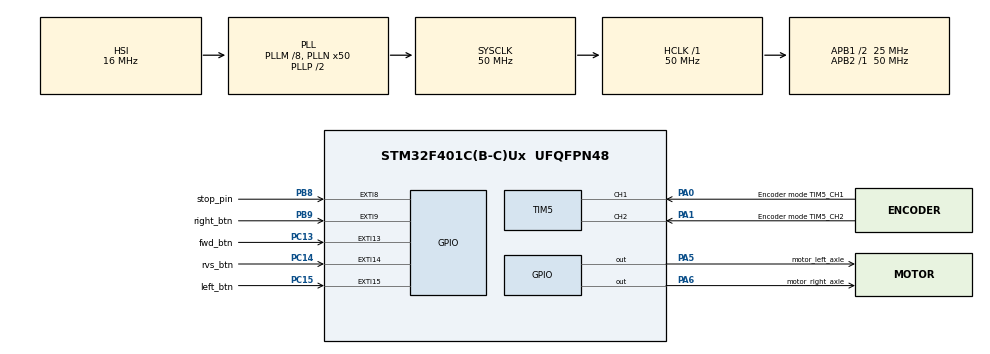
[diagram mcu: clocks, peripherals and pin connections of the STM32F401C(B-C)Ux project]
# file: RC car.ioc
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Mcu.Family=STM32F4
Mcu.Name=STM32F401C(B-C)Ux
Mcu.Package=UFQFPN48
NVIC.PriorityGroup=NVIC_PRIORITYGROUP_4
NVIC.TIM2_IRQn=true\:0\:0\:false\:false\:true\:true\:true\:true
NVIC.TIM3_IRQn=true\:0\:0\:false\:false\:true\:true\:true\:true
PA0-WKUP.GPIO_Label=Encoder mode TIM5_CH1
PA0-WKUP.GPIO_PuPd=GPIO_PULLUP
PA0-WKUP.Signal=S_TIM5_CH1
PA1.GPIO_Label=Encoder mode TIM5_CH2
PA1.GPIO_PuPd=GPIO_PULLUP
PA1.Signal=S_TIM5_CH2
PA13.Mode=Serial_Wire
PA13.Signal=SYS_JTMS-SWDIO
PA14.Mode=Serial_Wire
PA14.Signal=SYS_JTCK-SWCLK
PA5.GPIO_Label=motor_left_axle
PA5.Signal=GPIO_Output
PA6.GPIO_Label=motor_right_axle
PA6.Signal=GPIO_Output
PB8.GPIO_Label=stop_pin
PB8.Signal=GPXTI8
PB9.GPIO_Label=right_btn
PB9.Signal=GPXTI9
PC13-ANTI_TAMP.GPIO_Label=fwd_btn
PC13-ANTI_TAMP.Signal=GPXTI13
PC14-OSC32_IN.GPIO_Label=rvs_btn
PC14-OSC32_IN.Signal=GPXTI14
PC15-OSC32_OUT.GPIO_Label=left_btn
PC15-OSC32_OUT.Signal=GPXTI15
PH0\ -\ OSC_IN.Mode=HSE-External-Oscillator
PH0\ -\ OSC_IN.Signal=RCC_OSC_IN
PH1\ -\ OSC_OUT.Mode=HSE-External-Oscillator
PH1\ -\ OSC_OUT.Signal=RCC_OSC_OUT
ProjectManager.HeapSize=0x200
ProjectManager.StackSize=0x400
ProjectManager.TargetToolchain=STM32CubeIDE
RCC.48MHZClocksFreq_Value=25000000
RCC.AHBFreq_Value=50000000
RCC.APB1CLKDivider=RCC_HCLK_DIV2
RCC.APB1Freq_Value=25000000
RCC.APB1TimFreq_Value=50000000
RCC.APB2Freq_Value=50000000
RCC.APB2TimFreq_Value=50000000
RCC.CortexFreq_Value=50000000
RCC.HCLKFreq_Value=50000000
RCC.HSE_VALUE=25000000
RCC.HSI_VALUE=16000000
RCC.LSE_VALUE=32768
RCC.PLLM=8
RCC.PLLN=50
RCC.SYSCLKFreq_VALUE=50000000
RCC.SYSCLKSource=RCC_SYSCLKSOURCE_PLLCLK
RCC.VCOOutputFreq_Value=100000000
SH.S_TIM5_CH1.0=TIM5_CH1,Encoder_Interface
SH.S_TIM5_CH2.0=TIM5_CH2,Encoder_Interface
TIM2.Period=2500
TIM2.Prescaler=2000
TIM3.Period=2500
TIM3.Prescaler=2000
VP_TIM2_VS_ClockSourceINT.Mode=Internal
VP_TIM3_VS_ClockSourceINT.Mode=Internal
board=custom

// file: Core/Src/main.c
/* USER CODE BEGIN Header */
/**
  ******************************************************************************
  * @file           : main.c
  * @brief          : Main program body
  ******************************************************************************
  * @attention
  *
  * Copyright (c) 2022 STMicroelectronics.
  * All rights reserved.
  *
  * This software is licensed under terms that can be found in the LICENSE file
  * in the root directory of this software component.
  * If no LICENSE file comes with this software, it is provided AS-IS.
  *
  ******************************************************************************
  */
/* USER CODE END Header */
#include "main.h"

TIM_HandleTypeDef htim2;
TIM_HandleTypeDef htim3;
TIM_HandleTypeDef htim5;

void SystemClock_Config(void);
static void MX_GPIO_Init(void);
static void MX_TIM2_Init(void);
static void MX_TIM3_Init(void);
static void MX_TIM5_Init(void);

/* USER CODE BEGIN 0 */
void HAL_TIM_PWM_PulseFinishedCallback(TIM_HandleTypeDef GPIO_Pin){
	switch(GPIO_Pin){
	case stop_btn:
		direction=0;
		break;
	case Fwd_btn:
		direction=1;
		break;
	case rvs_btn:
		direction=2;
		break;
	case left_pin:
		direction=3;
		break;
	case right_pin:
		direction=4;
		break;
	case front_left_pin:
		direction=5;
		break;
	case rvs_left_pin:
		direction=6;
		break;
	case front_right_pin:
		direction=7;
		break;
	case rvs_right_pin:
		direction=8;
		break;
	case rotary_encoder :
		direction=9;
		break;
	default:
		direction =0;

	}
}

/* USER CODE END 0 */

int main(void)
{

  /* MCU Configuration--------------------------------------------------------*/

  /* Reset of all peripherals, Initializes the Flash interface and the Systick. */
  HAL_Init();

  /* Configure the system clock */
  SystemClock_Config();

  /* Initialize all configured peripherals */
  MX_GPIO_Init();
  MX_TIM2_Init();
  MX_TIM3_Init();
  MX_TIM5_Init();
  /* USER CODE BEGIN 2 */

  HAL_TIM_PWM_Start_IT(&htim2, TIM_CHANNEL_1);
  HAL_TIM_PWM_Start_IT(&htim3, TIM_CHANNEL_1);
  HAL_TIM_Encoder_Start(&htim2,ALL_CHANNELS);
  pinLast=HAL_GPIO_ReadPin(GPIOA, GPIO_PIN_10);

  /* USER CODE END 2 */

  /* Infinite loop */
  /* USER CODE BEGIN WHILE */
  while (1)
  {

	//motor1 is the left axle motor
	  //motor2 is the right axle motor

	  switch(direction){

  //stop condition
  case 0:
	  HAL_GPIO_WritePin(GPIOA, GPIO_PIN_5, GPIO_PIN_SET);//left motor
	  HAL_GPIO_WritePin(GPIOA, GPIO_PIN_6, GPIO_PIN_SET);//right motor

	 		  //motor1 speed 0
	            (TIM2->CCR1) =0;

	          //motor2 speed 0
	         	   (TIM3->CCR1)=0;

	         		   break;

  //forward motion
  case 1:
	  HAL_GPIO_WritePin(GPIOA, GPIO_PIN_5, GPIO_PIN_SET);
	  HAL_GPIO_WritePin(GPIOA, GPIO_PIN_6, GPIO_PIN_SET);

//maintain same speed for both the motors

	            (TIM2->CCR1) +=100;
	            if(TIM2->CCR1 >5000){
	         	   TIM2->CCR1 =500;
              }

	         	   (TIM3->CCR1) +=100;
	         	   if((TIM3->CCR1) >5000){
	         		   (TIM3->CCR1)=500;
               }
	  break;
	  //reverse
  case 2:
	  //run both motors in low configuration with same speed
	  HAL_GPIO_WritePin(GPIOA, GPIO_PIN_5, GPIO_PIN_RESET);
	  HAL_GPIO_WritePin(GPIOA, GPIO_PIN_6, GPIO_PIN_RESET);

	 		  //increase the speed of motor1 by 100 till it reaches 5000
	            (TIM2->CCR1) +=100;
	            if(TIM2->CCR1 >5000){
	         	   TIM2->CCR1 =500;
              }
	          //increase the speed of motor1 by 100 till it reaches 5000
	         	   (TIM3->CCR1) +=100;
	         	   if((TIM3->CCR1) >5000){
	         		   (TIM3->CCR1)=500;
               }
	         		   break;
	//left turn
  case 3:
	  HAL_GPIO_WritePin(GPIOA, GPIO_PIN_5, GPIO_PIN_SET);
	  HAL_GPIO_WritePin(GPIOA, GPIO_PIN_6, GPIO_PIN_SET);

	 		 //motor1 stops
	            (TIM2->CCR1) =0;
	          //increase the speed of motor2 by 100 till it reaches 5000
	         	   (TIM3->CCR1) +=100;
	         	   if((TIM3->CCR1) >5000){
	         		   (TIM3->CCR1)=500;
               }
	         		   break;

//right turn
    case 4:
	         		  HAL_GPIO_WritePin(GPIOA, GPIO_PIN_5, GPIO_PIN_SET);
	         		  HAL_GPIO_WritePin(GPIOA, GPIO_PIN_6, GPIO_PIN_SET);

	         		 		  //increase the speed of motor1 by 100 till it reaches 5000
	         		            (TIM2->CCR1) +=100;
	         		            if(TIM2->CCR1 >5000){
	         		         	   TIM2->CCR1 =500;
	         		          //motor 2 stops
	         		         	   (TIM3->CCR1)=0;
                          }
	         		         	   break;
    //front-left
    case 5:
       HAL_GPIO_WritePin(GPIOA, GPIO_PIN_5, GPIO_PIN_SET);
    	HAL_GPIO_WritePin(GPIOA, GPIO_PIN_6, GPIO_PIN_SET);

    			  //increase the speed of motor1 by 10 till it reaches 5000
    	           (TIM2->CCR1) +=10;
    	           if(TIM2->CCR1 >5000){
    	        	   TIM2->CCR1 =500;
                 }
    	         //increase the speed of motor2 by 100 till it reaches 5000
    	        	   (TIM3->CCR1) +=100;
    	        	   if((TIM3->CCR1) >5000){
    	        		   (TIM3->CCR1)=500;
                   }
    	        		   break;
   //revese-left
    case 6:
    	 HAL_GPIO_WritePin(GPIOA, GPIO_PIN_5, GPIO_PIN_RESET);
         HAL_GPIO_WritePin(GPIOA, GPIO_PIN_6, GPIO_PIN_RESET);

    			  //run motor1 at 25% speed

                         TIM2->CCR1=25;

    	         //motor 2 at 75% speed
    	        	   (TIM3->CCR1)=75;

    	        		   break;

    //forward-right
   case 7:
   	      HAL_GPIO_WritePin(GPIOA, GPIO_PIN_5, GPIO_PIN_SET);
   	      HAL_GPIO_WritePin(GPIOA, GPIO_PIN_6, GPIO_PIN_SET);

		  //run motor1 at 75% speed

                     TIM2->CCR1=75;

	         //motor 2 at 25% speed
	        	   (TIM3->CCR1)=25;
	        	   break;

	//rvs-right
   case 8:
	   HAL_GPIO_WritePin(GPIOA, GPIO_PIN_5, GPIO_PIN_RESET);
	   HAL_GPIO_WritePin(GPIOA, GPIO_PIN_6, GPIO_PIN_RESET);

	   		  //run motor1 at 25% speed

	              TIM2->CCR1=25;

	   	         //motor 2 at 75% speed
	          	   (TIM3->CCR1)=75;
	   	        	   break;

	 //rotary encoder that'll rotate the motor in clockwise direction when the rotor is rotated clockwise
   case 9:

	  pincurrent=HAL_GPIO_ReadPin(GPIOA, GPIO_PIN_10);
	  if(pincurrent != pinLast)//knob is rotating , find direction of rotation
	  {
		if(HAL_GPIO_ReadPin(GPIOA, GPIO_PIN_11_Pin)!= pincurrent)/*means pin at TIM5 CH1 is rotating first clockwise rotation*/
			{
			HAL_GPIO_WritePin(GPIOA, GPIO_PIN_5, GPIO_PIN_SET);
			 HAL_GPIO_WritePin(GPIOA, GPIO_PIN_6, GPIO_PIN_RESET);

				//motor will spin in clockwise direction

			                     TIM2->CCR1=100;
			                     if(TIM2->CCR1 >500){

			                    	 TIM2->CCR1 =100;
			                     }

				        	   (TIM3->CCR1)=100;
				        	   if((TIM3->CCR1) >500){

				        		   (TIM3->CCR1)=100;
				        	   }

				        	   else//rotating anti-clcokwise
				        	 HAL_GPIO_WritePin(GPIOA, GPIO_PIN_5, GPIO_PIN_RESET);
				        	   HAL_GPIO_WritePin(GPIOA, GPIO_PIN_6, GPIO_PIN_SET);

				        //motor will spin in anti-clockwise direction

				        		    TIM2->CCR1=100;
				        		    if(TIM2->CCR1 >500){

				        		    	TIM2->CCR1 =100;
				        		  			                     }

				        		   (TIM3->CCR1)=100;
				        		   if((TIM3->CCR1) >500){

				        			   (TIM3->CCR1)=100;
				        		   				        	   }

				        		   {
	  }
   default ://stop
	   HAL_GPIO_WritePin(GPIOA, GPIO_PIN_5, GPIO_PIN_SET);
  	   HAL_GPIO_WritePin(GPIOA, GPIO_PIN_6, GPIO_PIN_SET);
  	   TIM2 ->CCR1 =0 ;
  	   TIM3 ->CCR2 =0;
  	   break;

	   }
    }

    /* USER CODE END WHILE */

  }
}

void SystemClock_Config(void)
{
  RCC_OscInitTypeDef RCC_OscInitStruct = {0};
  RCC_ClkInitTypeDef RCC_ClkInitStruct = {0};

  /** Configure the main internal regulator output voltage
  */
  __HAL_RCC_PWR_CLK_ENABLE();
  __HAL_PWR_VOLTAGESCALING_CONFIG(PWR_REGULATOR_VOLTAGE_SCALE2);

  /** Initializes the RCC Oscillators according to the specified parameters
  * in the RCC_OscInitTypeDef structure.
  */
  RCC_OscInitStruct.OscillatorType = RCC_OSCILLATORTYPE_HSI;
  RCC_OscInitStruct.HSIState = RCC_HSI_ON;
  RCC_OscInitStruct.HSICalibrationValue = RCC_HSICALIBRATION_DEFAULT;
  RCC_OscInitStruct.PLL.PLLState = RCC_PLL_ON;
  RCC_OscInitStruct.PLL.PLLSource = RCC_PLLSOURCE_HSI;
  RCC_OscInitStruct.PLL.PLLM = 8;
  RCC_OscInitStruct.PLL.PLLN = 50;
  RCC_OscInitStruct.PLL.PLLP = RCC_PLLP_DIV2;
  RCC_OscInitStruct.PLL.PLLQ = 4;
  if (HAL_RCC_OscConfig(&RCC_OscInitStruct) != HAL_OK)
  {
    Error_Handler();
  }

  /** Initializes the CPU, AHB and APB buses clocks
  */
  RCC_ClkInitStruct.ClockType = RCC_CLOCKTYPE_HCLK|RCC_CLOCKTYPE_SYSCLK
                              |RCC_CLOCKTYPE_PCLK1|RCC_CLOCKTYPE_PCLK2;
  RCC_ClkInitStruct.SYSCLKSource = RCC_SYSCLKSOURCE_PLLCLK;
  RCC_ClkInitStruct.AHBCLKDivider = RCC_SYSCLK_DIV1;
  RCC_ClkInitStruct.APB1CLKDivider = RCC_HCLK_DIV2;
  RCC_ClkInitStruct.APB2CLKDivider = RCC_HCLK_DIV1;

  if (HAL_RCC_ClockConfig(&RCC_ClkInitStruct, FLASH_LATENCY_1) != HAL_OK)
  {
    Error_Handler();
  }
}

static void MX_TIM2_Init(void)
{

  TIM_ClockConfigTypeDef sClockSourceConfig = {0};
  TIM_MasterConfigTypeDef sMasterConfig = {0};

  htim2.Instance = TIM2;
  htim2.Init.Prescaler = 2000;
  htim2.Init.CounterMode = TIM_COUNTERMODE_UP;
  htim2.Init.Period = 2500;
  htim2.Init.ClockDivision = TIM_CLOCKDIVISION_DIV1;
  htim2.Init.AutoReloadPreload = TIM_AUTORELOAD_PRELOAD_DISABLE;
  if (HAL_TIM_Base_Init(&htim2) != HAL_OK)
  {
    Error_Handler();
  }
  sClockSourceConfig.ClockSource = TIM_CLOCKSOURCE_INTERNAL;
  if (HAL_TIM_ConfigClockSource(&htim2, &sClockSourceConfig) != HAL_OK)
  {
    Error_Handler();
  }
  sMasterConfig.MasterOutputTrigger = TIM_TRGO_RESET;
  sMasterConfig.MasterSlaveMode = TIM_MASTERSLAVEMODE_DISABLE;
  if (HAL_TIMEx_MasterConfigSynchronization(&htim2, &sMasterConfig) != HAL_OK)
  {
    Error_Handler();
  }

}

static void MX_TIM3_Init(void)
{

  TIM_ClockConfigTypeDef sClockSourceConfig = {0};
  TIM_MasterConfigTypeDef sMasterConfig = {0};

  htim3.Instance = TIM3;
  htim3.Init.Prescaler = 2000;
  htim3.Init.CounterMode = TIM_COUNTERMODE_UP;
  htim3.Init.Period = 2500;
  htim3.Init.ClockDivision = TIM_CLOCKDIVISION_DIV1;
  htim3.Init.AutoReloadPreload = TIM_AUTORELOAD_PRELOAD_DISABLE;
  if (HAL_TIM_Base_Init(&htim3) != HAL_OK)
  {
    Error_Handler();
  }
  sClockSourceConfig.ClockSource = TIM_CLOCKSOURCE_INTERNAL;
  if (HAL_TIM_ConfigClockSource(&htim3, &sClockSourceConfig) != HAL_OK)
  {
    Error_Handler();
  }
  sMasterConfig.MasterOutputTrigger = TIM_TRGO_RESET;
  sMasterConfig.MasterSlaveMode = TIM_MASTERSLAVEMODE_DISABLE;
  if (HAL_TIMEx_MasterConfigSynchronization(&htim3, &sMasterConfig) != HAL_OK)
  {
    Error_Handler();
  }

}

static void MX_TIM5_Init(void)
{

  TIM_Encoder_InitTypeDef sConfig = {0};
  TIM_MasterConfigTypeDef sMasterConfig = {0};

  htim5.Instance = TIM5;
  htim5.Init.Prescaler = 0;
  htim5.Init.CounterMode = TIM_COUNTERMODE_UP;
  htim5.Init.Period = 4294967295;
  htim5.Init.ClockDivision = TIM_CLOCKDIVISION_DIV1;
  htim5.Init.AutoReloadPreload = TIM_AUTORELOAD_PRELOAD_DISABLE;
  sConfig.EncoderMode = TIM_ENCODERMODE_TI1;
  sConfig.IC1Polarity = TIM_ICPOLARITY_RISING;
  sConfig.IC1Selection = TIM_ICSELECTION_DIRECTTI;
  sConfig.IC1Prescaler = TIM_ICPSC_DIV1;
  sConfig.IC1Filter = 0;
  sConfig.IC2Polarity = TIM_ICPOLARITY_RISING;
  sConfig.IC2Selection = TIM_ICSELECTION_DIRECTTI;
  sConfig.IC2Prescaler = TIM_ICPSC_DIV1;
  sConfig.IC2Filter = 0;
  if (HAL_TIM_Encoder_Init(&htim5, &sConfig) != HAL_OK)
  {
    Error_Handler();
  }
  sMasterConfig.MasterOutputTrigger = TIM_TRGO_RESET;
  sMasterConfig.MasterSlaveMode = TIM_MASTERSLAVEMODE_DISABLE;
  if (HAL_TIMEx_MasterConfigSynchronization(&htim5, &sMasterConfig) != HAL_OK)
  {
    Error_Handler();
  }

}

static void MX_GPIO_Init(void)
{
  GPIO_InitTypeDef GPIO_InitStruct = {0};

  /* GPIO Ports Clock Enable */
  __HAL_RCC_GPIOC_CLK_ENABLE();
  __HAL_RCC_GPIOH_CLK_ENABLE();
  __HAL_RCC_GPIOA_CLK_ENABLE();
  __HAL_RCC_GPIOB_CLK_ENABLE();

  /*Configure GPIO pin Output Level */
  HAL_GPIO_WritePin(GPIOA, motor_left_axle_Pin|motor_right_axle_Pin, GPIO_PIN_RESET);

  /*Configure GPIO pins : fwd_btn_Pin rvs_btn_Pin left_btn_Pin */
  GPIO_InitStruct.Pin = fwd_btn_Pin|rvs_btn_Pin|left_btn_Pin;
  GPIO_InitStruct.Mode = GPIO_MODE_IT_RISING;
  GPIO_InitStruct.Pull = GPIO_NOPULL;
  HAL_GPIO_Init(GPIOC, &GPIO_InitStruct);

  /*Configure GPIO pins : motor_left_axle_Pin motor_right_axle_Pin */
  GPIO_InitStruct.Pin = motor_left_axle_Pin|motor_right_axle_Pin;
  GPIO_InitStruct.Mode = GPIO_MODE_OUTPUT_PP;
  GPIO_InitStruct.Pull = GPIO_NOPULL;
  GPIO_InitStruct.Speed = GPIO_SPEED_FREQ_LOW;
  HAL_GPIO_Init(GPIOA, &GPIO_InitStruct);

  /*Configure GPIO pins : stop_pin_Pin right_btn_Pin */
  GPIO_InitStruct.Pin = stop_pin_Pin|right_btn_Pin;
  GPIO_InitStruct.Mode = GPIO_MODE_IT_RISING;
  GPIO_InitStruct.Pull = GPIO_NOPULL;
  HAL_GPIO_Init(GPIOB, &GPIO_InitStruct);

}

void Error_Handler(void)
{
  __disable_irq();
  while (1)
  {
  }
}
